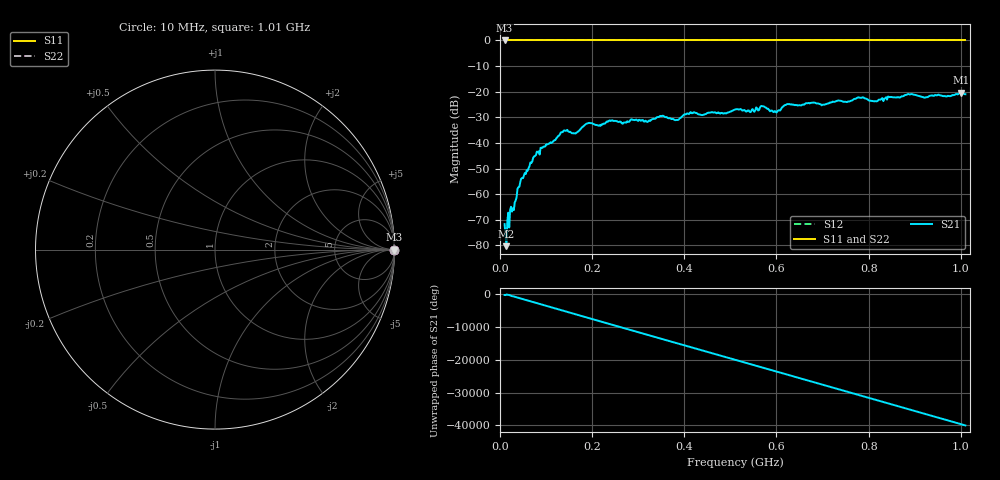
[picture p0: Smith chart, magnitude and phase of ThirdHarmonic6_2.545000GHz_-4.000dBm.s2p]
! 8/17/2025 5:09:47 AM
! C:\ANRITSUVNA\TEMP\TEMP.S2P
! CHANNEL.1
! TR.MEASUREMENT
! RAW.DATA
! RF.CORRECTION.OFF
! AVERAGING.OFF
! IF.BANDWIDTH: 5KHZ
! SWEEPTYPE:  FREQ.SWEEP(Linear)
! Reference Plane Port Info
! PORT:  PORT1  PORT2
! DISTANCE:  0  m  0  m
! TIME:  0  s  0  s
! PHASE.OFFSET:  0  deg.  0  deg.
! LOSS:  0  dB  0  dB
! REF.LOSS:  0  dB  0  dB
! REF.FREQ:  0  Hz  0  Hz
! Power Info
! POWER:  -20  dBm  -20  dBm
! EFF.POWER:  -20  dBm  -20  dBm
! SOURCE.ATTEN:  0  dB  0  dB
! TEST.ATTEN:  0  dB  0  dB
# GHZ S RI R 50.0
! FREQ.GHZ  S11RE  S11IM  S21RE  S21IM  S12RE  S12IM  S22RE  S22IM
!; PortSelection: Port_12
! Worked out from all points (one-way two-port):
!   501 points, 10 MHz to 1.01 GHz, reference 50 ohm
!   highest |S21| = -20.40 dB at 1 GHz (marker M1); lowest = -80.3 dB at 14 MHz (marker M2)
!   lowest |S11| = 0.0 dB at 10 MHz (marker M3)
!   |S11| at or under -10 dB: nowhere
!   |S22| runs from 0.0 to 0.0 dB; largest |S21 - S12| = 1.1
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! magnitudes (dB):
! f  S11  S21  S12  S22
! 10 MHz  0.0  -71.7  0.0  0.0
! 14 MHz  0.0  -80.3  0.0  0.0
! 16 MHz  0.0  -70.5  0.0  0.0
! 20 MHz  0.0  -73.0  0.0  0.0
! 30 MHz  0.0  -66.3  0.0  0.0
! 42 MHz  0.0  -57.1  0.0  0.0
! 76 MHz  0.0  -45.1  0.0  0.0
! 136 MHz  0.0  -35.8  0.0  0.0
! 162 MHz  0.0  -36.3  0.0  0.0
! 178 MHz  0.0  -33.9  0.0  0.0
! 192 MHz  0.0  -32.2  0.0  0.0
! 344 MHz  0.0  -29.9  0.0  0.0
! 384 MHz  0.0  -31.0  0.0  0.0
! 410 MHz  0.0  -28.7  0.0  0.0
! 510 MHz  0.0  -27.0  0.0  0.0
! 570 MHz  0.0  -25.7  0.0  0.0
! 598 MHz  0.0  -27.7  0.0  0.0
! 622 MHz  0.0  -25.0  0.0  0.0
! 678 MHz  0.0  -24.3  0.0  0.0
! 844 MHz  0.0  -22.0  0.0  0.0
! 1 GHz  0.0  -20.4  0.0  0.0
! 1.01 GHz  0.0  -21.0  0.0  0.0
